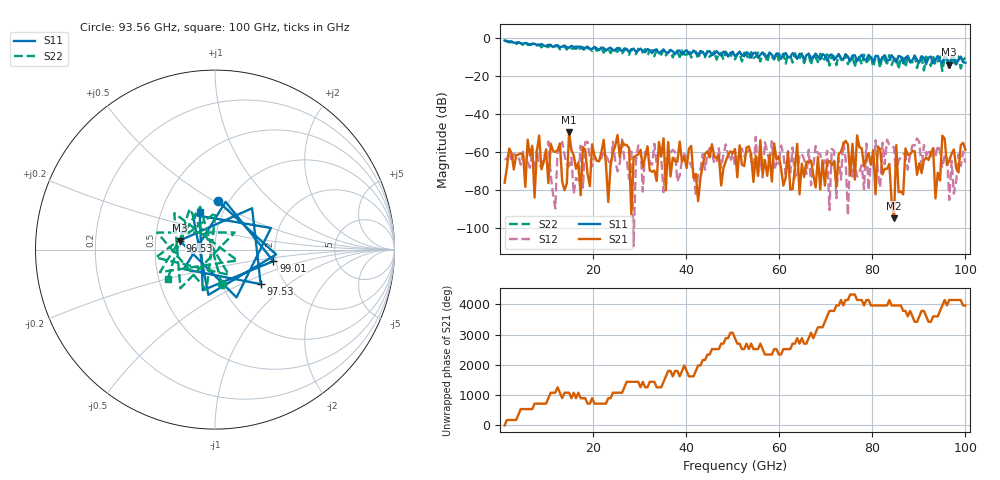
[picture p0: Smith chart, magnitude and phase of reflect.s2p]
!Created with skrf (http://scikit-rf.org).
# GHz S RI R 50.0
!freq ReS11 ImS11 ReS21 ImS21 ReS12 ImS12 ReS22 ImS22
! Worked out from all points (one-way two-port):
!   201 points, 1 GHz to 100 GHz, reference 50 ohm
!   highest |S21| = -49.69 dB at 14.86 GHz (marker M1); lowest = -95.1 dB at 84.66 GHz (marker M2)
!   lowest |S11| = -13.8 dB at 96.53 GHz (marker M3), VSWR 1.51, Z = 33.4 + j3.51 ohm
!   |S11| at or under -10 dB: 71.55 GHz to 72.28 GHz (735.1 MHz wide, 1.02 % of centre); 90.96 GHz to 92.2 GHz (1.239 GHz wide, 1.35 % of centre); 95.75 GHz to 97.38 GHz (1.633 GHz wide, 1.69 % of centre) (the widest 3 of 28)
!   |S22| runs from -17.2 to -1.2 dB; largest |S21 - S12| = 0.004
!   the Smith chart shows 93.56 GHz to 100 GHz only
!   S11 on the Smith chart (normalised r, x): 93.56 GHz: 0.89, +0.52; 96.53 GHz: 0.67, +0.07; 97.53 GHz: 1.51, -0.65; 99.01 GHz: 1.94, -0.28; 100 GHz: 0.78, +0.35
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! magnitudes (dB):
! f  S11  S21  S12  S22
! 1 GHz  -1.1  -76.3  -63.7  -1.4
! 5.95 GHz  -2.7  -53.6  -65.4  -3.4
! 7.435 GHz  -2.8  -84.1  -73.8  -4.3
! 8.425 GHz  -3.5  -51.4  -67.3  -3.2
! 13.87 GHz  -3.7  -80.2  -61.6  -4.4
! 14.86 GHz  -4.9  -49.7  -67.6  -3.9
! 17.34 GHz  -4.4  -82.9  -56.7  -4.9
! 17.83 GHz  -5.6  -57.4  -79.0  -4.6
! 28.23 GHz  -5.8  -92.9  -58.6  -5.7
! 34.16 GHz  -7.8  -54.8  -58.8  -7.5
! 35.65 GHz  -7.4  -80.3  -63.5  -8.9
! 36.15 GHz  -7.7  -54.8  -64.4  -7.4
! 50.5 GHz  -9.4  -58.5  -67.3  -11.1
! 67.33 GHz  -9.9  -72.2  -68.1  -8.3
! 83.67 GHz  -11.4  -66.3  -56.5  -8.8
! 84.66 GHz  -10.7  -95.1  -57.7  -11.0
! 85.15 GHz  -12.6  -56.4  -71.7  -9.3
! 93.56 GHz  -11.4  -84.6  -62.6  -14.1
! 96.53 GHz  -13.8  -64.6  -85.4  -16.8
! 97.53 GHz  -9.9  -58.7  -82.1  -12.8
! 99.01 GHz  -9.6  -56.3  -67.4  -15.9
! 100 GHz  -12.8  -58.9  -65.7  -10.1
